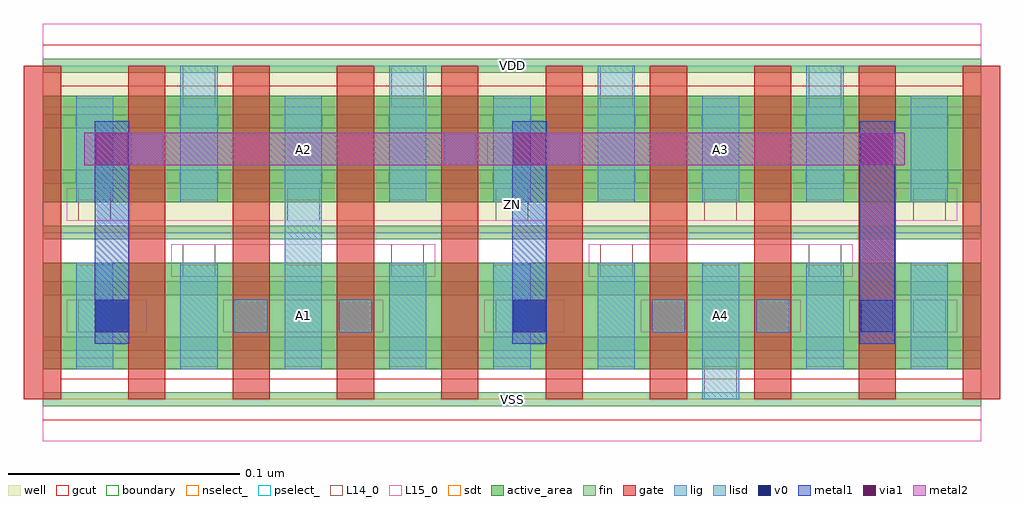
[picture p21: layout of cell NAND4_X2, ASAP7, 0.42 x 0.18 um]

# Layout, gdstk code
import gdstk
lib = gdstk.Library(unit=1e-6, precision=2.5e-10)
def R(c, l, rs):  # rectangles x0, y0, x1, y1
    for r in rs: c.add(gdstk.rectangle(r[:2], r[2:], *l))
def A(c, l, x, y, w, h, nx, ny, dx, dy):  # array of equal rectangles
    R(c, l, [(x+i*dx, y+j*dy, x+i*dx+w, y+j*dy+h) for i in range(nx) for j in range(ny)])
def P(c, l, *ps):  # polygons
    for p in ps: c.add(gdstk.Polygon(p, *l))
well = (1, 0)
fin = (2, 0)
gate = (7, 0)
gcut = (10, 0)
active_area = (11, 0)
nselect_ = (12, 0)
pselect_ = (13, 0)
L14_0 = (14, 0)
L15_0 = (15, 0)
lig = (16, 0)
lisd = (17, 0)
v0 = (18, 0)
metal1 = (19, 0)
metal2 = (20, 0)
via1 = (21, 0)
sdt = (88, 0)
boundary = (100, 0)

nand4_x2 = lib.new_cell('NAND4_X2')
R(nand4_x2, well, [(0,0.072,0.405,0.144)])
A(nand4_x2, fin, 0, -0.003, 0.405, 0.006, 1, 7, 0, 0.024)
A(nand4_x2, gate, -0.008, 0, 0.016, 0.144, 10, 1, 0.045, 0)
P(nand4_x2, gcut, [(0,-0.009),(0,0),(-0.008,0),(-0.008,0.135),(0.008,0.135),(0.008,0.009),(0.397,0.009),(0.397,0.135),(-0.008,0.135),(-0.008,0.144),(0,0.144),(0,0.153),(0.405,0.153),(0.405,0.144),(0.413,0.144),(0.413,0),(0.405,0),(0.405,-0.009)])
R(nand4_x2, active_area, [(0,0.013,0.405,0.059), (0,0.085,0.405,0.131)])
R(nand4_x2, nselect_, [(0,0,0.405,0.072)])
R(nand4_x2, pselect_, [(0,0.072,0.405,0.144)])
A(nand4_x2, L14_0, 0.128, 0.029, 0.014, 0.014, 3, 1, 0.0675, 0)
A(nand4_x2, L14_0, 0.0605, 0.053, 0.014, 0.014, 4, 1, 0.09, 0)
A(nand4_x2, L14_0, 0.0155, 0.077, 0.014, 0.014, 5, 1, 0.09, 0)
A(nand4_x2, L14_0, 0.0605, 0.126, 0.014, 0.018, 4, 1, 0.09, 0)
R(nand4_x2, L14_0, [(0.2855,0,0.2995,0.018), (0.0155,0.029,0.0295,0.043), (0.083,0.029,0.097,0.043), (0.308,0.029,0.322,0.043), (0.3755,0.029,0.3895,0.043), (0.038,0.101,0.052,0.115), (0.173,0.101,0.187,0.115), (0.218,0.101,0.232,0.115), (0.353,0.101,0.367,0.115)])
R(nand4_x2, L15_0, [(0,-0.018,0.405,0.018), (0.0105,0.029,0.045,0.043), (0.078,0.029,0.147,0.043), (0.1905,0.029,0.225,0.043), (0.258,0.029,0.327,0.043), (0.348,0.029,0.3945,0.043), (0.0555,0.053,0.1695,0.067), (0.2355,0.053,0.3495,0.067), (0.0105,0.077,0.3945,0.091), (0.033,0.101,0.192,0.115), (0.213,0.101,0.372,0.115), (0,0.126,0.405,0.162)])
R(nand4_x2, lig, [(0.083,0.029,0.097,0.043), (0.128,0.029,0.142,0.043), (0.263,0.029,0.277,0.043), (0.308,0.029,0.322,0.043), (0.038,0.101,0.052,0.115), (0.173,0.101,0.187,0.115), (0.218,0.101,0.232,0.115), (0.353,0.101,0.367,0.115)])
A(nand4_x2, lisd, 0.1495, 0.013, 0.016, 0.046, 3, 1, 0.045, 0)
A(nand4_x2, lisd, 0.0595, 0.085, 0.016, 0.059, 4, 1, 0.09, 0)
A(nand4_x2, lisd, 0.1945, 0.085, 0.016, 0.046, 3, 1, 0.09, 0)
R(nand4_x2, lisd, [(0.2845,0,0.3005,0.059), (0.0145,0.013,0.0305,0.059), (0.0595,0.013,0.0755,0.059), (0.1045,0.013,0.1205,0.131), (0.3295,0.013,0.3455,0.059), (0.3745,0.013,0.3905,0.059), (0.0145,0.085,0.0305,0.131)])
R(nand4_x2, v0, [(0.023,0.029,0.037,0.043), (0.203,0.029,0.217,0.043), (0.353,0.029,0.367,0.043)])
R(nand4_x2, metal1, [(0.0225,0.024,0.0375,0.12), (0.2025,0.024,0.2175,0.12), (0.3525,0.024,0.3675,0.12)])
R(nand4_x2, metal2, [(0.018,0.101,0.372,0.115)])
R(nand4_x2, via1, [(0.023,0.101,0.037,0.115), (0.203,0.101,0.217,0.115), (0.353,0.101,0.367,0.115)])
A(nand4_x2, sdt, 0.0145, 0.014, 0.016, 0.044, 9, 2, 0.045, 0.072)
R(nand4_x2, boundary, [(0,0,0.405,0.144)])
nand4_x2.add(gdstk.Label('A1', (0.1125,0.036), layer=15, texttype=251))
nand4_x2.add(gdstk.Label('VSS', (0.2025,0), layer=15, texttype=251))
nand4_x2.add(gdstk.Label('VDD', (0.2025,0.144), layer=15, texttype=251))
nand4_x2.add(gdstk.Label('A2', (0.1125,0.108), layer=15, texttype=251))
nand4_x2.add(gdstk.Label('VSS', (0.2025,0), layer=15, texttype=251))
nand4_x2.add(gdstk.Label('VDD', (0.2025,0.144), layer=15, texttype=251))
nand4_x2.add(gdstk.Label('ZN', (0.2025,0.084), layer=15, texttype=251))
nand4_x2.add(gdstk.Label('VSS', (0.2025,0), layer=15, texttype=251))
nand4_x2.add(gdstk.Label('VDD', (0.2025,0.144), layer=15, texttype=251))
nand4_x2.add(gdstk.Label('A3', (0.2925,0.108), layer=15, texttype=251))
nand4_x2.add(gdstk.Label('VSS', (0.2025,0), layer=15, texttype=251))
nand4_x2.add(gdstk.Label('VDD', (0.2025,0.144), layer=15, texttype=251))
nand4_x2.add(gdstk.Label('A4', (0.2925,0.036), layer=15, texttype=251))
nand4_x2.add(gdstk.Label('VSS', (0.2025,0), layer=15, texttype=251))
nand4_x2.add(gdstk.Label('VDD', (0.2025,0.144), layer=15, texttype=251))
nand4_x2.add(gdstk.Label('VSS', (0.2025,0), layer=3, texttype=251))
nand4_x2.add(gdstk.Label('VSS', (0.2025,0), layer=3, texttype=251))
nand4_x2.add(gdstk.Label('VSS', (0.2025,0), layer=3, texttype=251))
nand4_x2.add(gdstk.Label('VSS', (0.2025,0), layer=3, texttype=251))
nand4_x2.add(gdstk.Label('VSS', (0.2025,0), layer=3, texttype=251))
nand4_x2.add(gdstk.Label('VDD', (0.2025,0.144), layer=1, texttype=251))
nand4_x2.add(gdstk.Label('VDD', (0.2025,0.144), layer=1, texttype=251))
nand4_x2.add(gdstk.Label('VDD', (0.2025,0.144), layer=1, texttype=251))
nand4_x2.add(gdstk.Label('VDD', (0.2025,0.144), layer=1, texttype=251))
nand4_x2.add(gdstk.Label('VDD', (0.2025,0.144), layer=1, texttype=251))

lib.write_gds('NAND4_X2.gds')
